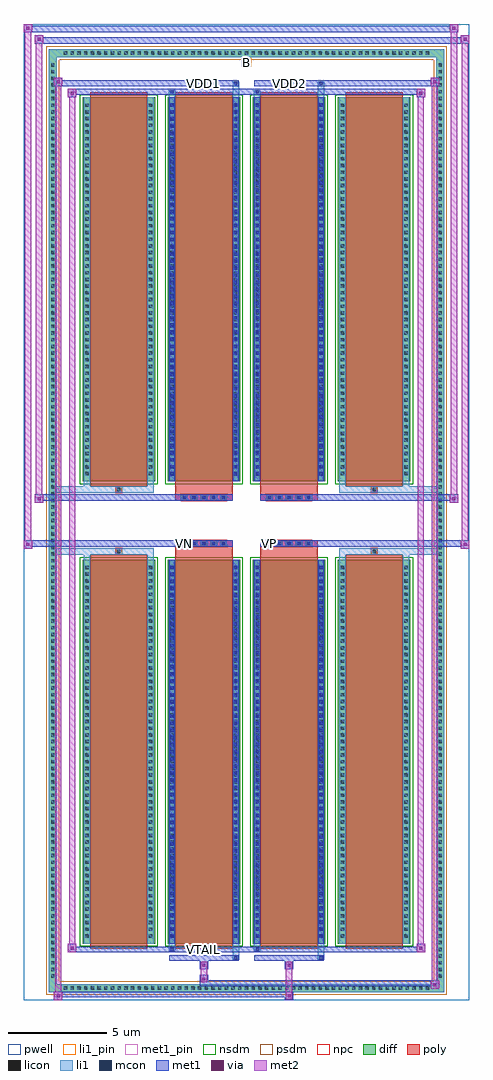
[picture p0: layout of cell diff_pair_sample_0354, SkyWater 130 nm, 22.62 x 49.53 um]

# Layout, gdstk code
import gdstk
lib = gdstk.Library(unit=1e-6, precision=5e-09)
def R(c, l, rs):  # rectangles x0, y0, x1, y1
    for r in rs: c.add(gdstk.rectangle(r[:2], r[2:], *l))
def A(c, l, x, y, w, h, nx, ny, dx, dy):  # array of equal rectangles
    R(c, l, [(x+i*dx, y+j*dy, x+i*dx+w, y+j*dy+h) for i in range(nx) for j in range(ny)])
def P(c, l, *ps):  # polygons
    for p in ps: c.add(gdstk.Polygon(p, *l))
pwell = (64, 44)
diff = (65, 20)
poly = (66, 20)
licon = (66, 44)
li1_pin = (67, 16)
li1 = (67, 20)
mcon = (67, 44)
met1_pin = (68, 16)
met1 = (68, 20)
via = (68, 44)
met2 = (69, 20)
nsdm = (93, 44)
psdm = (94, 20)
npc = (95, 20)

diff_pair_sample_0354 = lib.new_cell('diff_pair_sample_0354')
R(diff_pair_sample_0354, pwell, [(-11.31,-24.33,11.31,25.2), (-8.63,-22.52,-0.01,-0.8), (0.01,-22.52,8.63,-0.8), (-8.63,0.8,-0.01,22.52), (0.01,0.8,8.63,22.52)])
A(diff_pair_sample_0354, diff, -9.385, -23.93, 0.41, 0.41, 55, 2, 0.34, 47.45)
A(diff_pair_sample_0354, diff, -10.04, -23.325, 0.41, 0.41, 1, 137, 0, 0.34)
A(diff_pair_sample_0354, diff, 9.63, -23.325, 0.41, 0.41, 1, 137, 0, 0.34)
A(diff_pair_sample_0354, diff, -8.32, -21.475, 3.68, 19.49, 4, 2, 4.32, 23.46)
R(diff_pair_sample_0354, diff, [(-9.385,-23.93,9.385,-23.52), (-10.04,-23.325,-9.63,23.325), (9.63,-23.325,10.04,23.325), (-9.385,23.52,9.385,23.93)])
P(diff_pair_sample_0354, diff, [(10.04,23.93),(-10.04,23.93),(-10.04,-23.52),(-9.63,-23.52),(-9.63,23.52),(9.63,23.52),(9.63,-23.52),(-9.63,-23.52),(-10.04,-23.52),(-10.04,-23.93),(10.04,-23.93)])
A(diff_pair_sample_0354, poly, -7.93, -21.725, 2.9, 19.99, 4, 2, 4.32, 23.46)
A(diff_pair_sample_0354, poly, -3.325, -1.33, 0.33, 0.33, 5, 2, 0.5, 2.33)
A(diff_pair_sample_0354, poly, 0.995, -1.33, 0.33, 0.33, 5, 2, 0.5, 2.33)
R(diff_pair_sample_0354, poly, [(-6.645,-1.735,-6.315,-1.405), (-6.645,-1.735,-6.315,-1.405), (-3.61,-1.735,-0.71,-1.33), (0.71,-1.735,3.61,-1.33), (6.315,-1.735,6.645,-1.405), (6.315,-1.735,6.645,-1.405), (-3.61,-1.33,-0.71,-1), (0.71,-1.33,3.61,-1), (-3.61,1,-0.71,1.33), (0.71,1,3.61,1.33), (-3.61,1.33,-0.71,1.735), (0.71,1.33,3.61,1.735), (-6.645,1.405,-6.315,1.735), (-6.645,1.405,-6.315,1.735), (6.315,1.405,6.645,1.735), (6.315,1.405,6.645,1.735)])
A(diff_pair_sample_0354, licon, -9.265, -23.81, 0.17, 0.17, 55, 2, 0.34, 47.45)
A(diff_pair_sample_0354, licon, -9.92, -23.205, 0.17, 0.17, 1, 137, 0, 0.34)
A(diff_pair_sample_0354, licon, 9.75, -23.205, 0.17, 0.17, 1, 137, 0, 0.34)
A(diff_pair_sample_0354, licon, -8.18, -21.165, 0.17, 0.17, 1, 56, 0, 0.34)
A(diff_pair_sample_0354, licon, -4.95, -21.165, 0.17, 0.17, 1, 56, 0, 0.34)
A(diff_pair_sample_0354, licon, -3.86, -21.165, 0.17, 0.17, 1, 56, 0, 0.34)
A(diff_pair_sample_0354, licon, -0.63, -21.165, 0.17, 0.17, 1, 56, 0, 0.34)
A(diff_pair_sample_0354, licon, 0.46, -21.165, 0.17, 0.17, 1, 56, 0, 0.34)
A(diff_pair_sample_0354, licon, 3.69, -21.165, 0.17, 0.17, 1, 56, 0, 0.34)
A(diff_pair_sample_0354, licon, 4.78, -21.165, 0.17, 0.17, 1, 56, 0, 0.34)
A(diff_pair_sample_0354, licon, 8.01, -21.165, 0.17, 0.17, 1, 56, 0, 0.34)
A(diff_pair_sample_0354, licon, -3.245, -1.25, 0.17, 0.17, 5, 2, 0.5, 2.33)
A(diff_pair_sample_0354, licon, 1.075, -1.25, 0.17, 0.17, 5, 2, 0.5, 2.33)
A(diff_pair_sample_0354, licon, -8.18, 2.295, 0.17, 0.17, 1, 56, 0, 0.34)
A(diff_pair_sample_0354, licon, -4.95, 2.295, 0.17, 0.17, 1, 56, 0, 0.34)
A(diff_pair_sample_0354, licon, -3.86, 2.295, 0.17, 0.17, 1, 56, 0, 0.34)
A(diff_pair_sample_0354, licon, -0.63, 2.295, 0.17, 0.17, 1, 56, 0, 0.34)
A(diff_pair_sample_0354, licon, 0.46, 2.295, 0.17, 0.17, 1, 56, 0, 0.34)
A(diff_pair_sample_0354, licon, 3.69, 2.295, 0.17, 0.17, 1, 56, 0, 0.34)
A(diff_pair_sample_0354, licon, 4.78, 2.295, 0.17, 0.17, 1, 56, 0, 0.34)
A(diff_pair_sample_0354, licon, 8.01, 2.295, 0.17, 0.17, 1, 56, 0, 0.34)
R(diff_pair_sample_0354, licon, [(-6.565,-1.655,-6.395,-1.485), (6.395,-1.655,6.565,-1.485), (-6.565,1.485,-6.395,1.655), (6.395,1.485,6.565,1.655)])
R(diff_pair_sample_0354, li1_pin, [(-0.25,23.02,0.25,23.52)])
A(diff_pair_sample_0354, li1, -9.345, -23.89, 0.33, 0.33, 55, 2, 0.34, 47.45)
A(diff_pair_sample_0354, li1, -10, -23.285, 0.33, 0.33, 1, 137, 0, 0.34)
A(diff_pair_sample_0354, li1, 9.67, -23.285, 0.33, 0.33, 1, 137, 0, 0.34)
A(diff_pair_sample_0354, li1, -8.26, -21.245, 0.33, 0.33, 1, 56, 0, 0.34)
A(diff_pair_sample_0354, li1, -5.03, -21.245, 0.33, 0.33, 1, 56, 0, 0.34)
A(diff_pair_sample_0354, li1, -3.94, -21.245, 0.33, 0.33, 1, 56, 0, 0.34)
A(diff_pair_sample_0354, li1, -0.71, -21.245, 0.33, 0.33, 1, 56, 0, 0.34)
A(diff_pair_sample_0354, li1, 0.38, -21.245, 0.33, 0.33, 1, 56, 0, 0.34)
A(diff_pair_sample_0354, li1, 3.61, -21.245, 0.33, 0.33, 1, 56, 0, 0.34)
A(diff_pair_sample_0354, li1, 4.7, -21.245, 0.33, 0.33, 1, 56, 0, 0.34)
A(diff_pair_sample_0354, li1, 7.93, -21.245, 0.33, 0.33, 1, 56, 0, 0.34)
A(diff_pair_sample_0354, li1, -3.86, -21.175, 0.17, 0.17, 1, 53, 0, 0.36)
A(diff_pair_sample_0354, li1, -0.63, -21.175, 0.17, 0.17, 1, 53, 0, 0.36)
A(diff_pair_sample_0354, li1, 0.46, -21.175, 0.17, 0.17, 1, 53, 0, 0.36)
A(diff_pair_sample_0354, li1, 3.69, -21.175, 0.17, 0.17, 1, 53, 0, 0.36)
A(diff_pair_sample_0354, li1, -3.325, -1.33, 0.33, 0.33, 5, 2, 0.5, 2.33)
A(diff_pair_sample_0354, li1, 0.995, -1.33, 0.33, 0.33, 5, 2, 0.5, 2.33)
A(diff_pair_sample_0354, li1, -8.26, 2.215, 0.33, 0.33, 1, 56, 0, 0.34)
A(diff_pair_sample_0354, li1, -5.03, 2.215, 0.33, 0.33, 1, 56, 0, 0.34)
A(diff_pair_sample_0354, li1, -3.94, 2.215, 0.33, 0.33, 1, 56, 0, 0.34)
A(diff_pair_sample_0354, li1, -0.71, 2.215, 0.33, 0.33, 1, 56, 0, 0.34)
A(diff_pair_sample_0354, li1, 0.38, 2.215, 0.33, 0.33, 1, 56, 0, 0.34)
A(diff_pair_sample_0354, li1, 3.61, 2.215, 0.33, 0.33, 1, 56, 0, 0.34)
A(diff_pair_sample_0354, li1, 4.7, 2.215, 0.33, 0.33, 1, 56, 0, 0.34)
A(diff_pair_sample_0354, li1, 7.93, 2.215, 0.33, 0.33, 1, 56, 0, 0.34)
A(diff_pair_sample_0354, li1, -3.86, 2.285, 0.17, 0.17, 1, 53, 0, 0.36)
A(diff_pair_sample_0354, li1, -0.63, 2.285, 0.17, 0.17, 1, 53, 0, 0.36)
A(diff_pair_sample_0354, li1, 0.46, 2.285, 0.17, 0.17, 1, 53, 0, 0.36)
A(diff_pair_sample_0354, li1, 3.69, 2.285, 0.17, 0.17, 1, 53, 0, 0.36)
R(diff_pair_sample_0354, li1, [(-10.04,-23.93,-9.63,-23.52), (-10.04,-23.93,-9.63,-23.52), (-9.63,-23.93,9.63,-23.52), (9.63,-23.93,10.04,-23.52), (9.63,-23.93,10.04,-23.52), (-10.04,-23.52,-9.63,23.52), (9.63,-23.52,10.04,23.52), (-0.71,-22.28,-0.38,-21.475), (-0.63,-22.28,-0.46,-22.11), (3.61,-22.28,3.94,-21.475), (3.69,-22.28,3.86,-22.11), (-3.94,-21.85,-3.61,-21.475), (-3.86,-21.85,-3.69,-21.68), (0.38,-21.85,0.71,-21.475), (0.46,-21.85,0.63,-21.68), (-8.26,-21.475,-7.93,-1.985), (-5.03,-21.475,-4.7,-1.985), (-3.94,-21.475,-3.61,-1.985), (-0.71,-21.475,-0.38,-1.985), (0.38,-21.475,0.71,-1.985), (3.61,-21.475,3.94,-1.985), (4.7,-21.475,5.03,-1.985), (7.93,-21.475,8.26,-1.985), (-3.86,-21.175,-3.69,-2.285), (-0.63,-21.175,-0.46,-2.285), (0.46,-21.175,0.63,-2.285), (3.69,-21.175,3.86,-2.285), (-8.26,-1.985,-7.93,-1.405), (-5.03,-1.985,-4.7,-1.405), (4.7,-1.985,5.03,-1.405), (7.93,-1.985,8.26,-1.405), (-10.04,-1.735,-6.645,-1.405), (-8.26,-1.735,-6.645,-1.405), (-6.645,-1.735,-6.315,-1.405), (-6.315,-1.735,-4.7,-1.405), (4.7,-1.735,6.315,-1.405), (6.315,-1.735,6.645,-1.405), (6.315,-1.735,10.04,-1.405), (6.645,-1.735,8.26,-1.405), (-10.04,1.405,-6.645,1.735), (-8.26,1.405,-6.645,1.735), (-8.26,1.405,-7.93,1.985), (-6.645,1.405,-6.315,1.735), (-6.315,1.405,-4.7,1.735), (-5.03,1.405,-4.7,1.985), (4.7,1.405,6.315,1.735), (4.7,1.405,5.03,1.985), (6.315,1.405,6.645,1.735), (6.315,1.405,10.04,1.735), (6.645,1.405,8.26,1.735), (7.93,1.405,8.26,1.985), (-8.26,1.985,-7.93,21.475), (-5.03,1.985,-4.7,21.475), (-3.94,1.985,-3.61,21.475), (-0.71,1.985,-0.38,21.475), (0.38,1.985,0.71,21.475), (3.61,1.985,3.94,21.475), (4.7,1.985,5.03,21.475), (7.93,1.985,8.26,21.475), (-3.86,2.285,-3.69,21.175), (-0.63,2.285,-0.46,21.175), (0.46,2.285,0.63,21.175), (3.69,2.285,3.86,21.175), (-3.94,21.475,-3.61,21.85), (-0.71,21.475,-0.38,22.28), (0.38,21.475,0.71,21.85), (3.61,21.475,3.94,22.28), (-3.86,21.68,-3.69,21.85), (0.46,21.68,0.63,21.85), (-0.63,22.11,-0.46,22.28), (3.69,22.11,3.86,22.28), (-10.04,23.52,-9.63,23.93), (-10.04,23.52,-9.63,23.93), (-9.63,23.52,9.63,23.93), (9.63,23.52,10.04,23.93), (9.63,23.52,10.04,23.93)])
A(diff_pair_sample_0354, mcon, -3.86, -21.175, 0.17, 0.17, 1, 53, 0, 0.36)
A(diff_pair_sample_0354, mcon, -0.63, -21.175, 0.17, 0.17, 1, 53, 0, 0.36)
A(diff_pair_sample_0354, mcon, 0.46, -21.175, 0.17, 0.17, 1, 53, 0, 0.36)
A(diff_pair_sample_0354, mcon, 3.69, -21.175, 0.17, 0.17, 1, 53, 0, 0.36)
A(diff_pair_sample_0354, mcon, -3.245, -1.25, 0.17, 0.17, 5, 2, 0.5, 2.33)
A(diff_pair_sample_0354, mcon, 1.075, -1.25, 0.17, 0.17, 5, 2, 0.5, 2.33)
A(diff_pair_sample_0354, mcon, -3.86, 2.285, 0.17, 0.17, 1, 53, 0, 0.36)
A(diff_pair_sample_0354, mcon, -0.63, 2.285, 0.17, 0.17, 1, 53, 0, 0.36)
A(diff_pair_sample_0354, mcon, 0.46, 2.285, 0.17, 0.17, 1, 53, 0, 0.36)
A(diff_pair_sample_0354, mcon, 3.69, 2.285, 0.17, 0.17, 1, 53, 0, 0.36)
R(diff_pair_sample_0354, mcon, [(-0.63,-22.28,-0.46,-22.11), (3.69,-22.28,3.86,-22.11), (-3.86,-21.85,-3.69,-21.68), (0.46,-21.85,0.63,-21.68), (-3.86,21.68,-3.69,21.85), (0.46,21.68,0.63,21.85), (-0.63,22.11,-0.46,22.28), (3.69,22.11,3.86,22.28)])
R(diff_pair_sample_0354, met1_pin, [(-2.295,-21.89,-2.025,-21.62), (-3.295,-1.29,-3.025,-1.02), (1.025,-1.29,1.295,-1.02), (-2.295,22.07,-2.025,22.34), (2.025,22.07,2.295,22.34)])
A(diff_pair_sample_0354, met1, -3.92, -21.235, 0.29, 0.29, 1, 53, 0, 0.36)
A(diff_pair_sample_0354, met1, -0.69, -21.235, 0.29, 0.29, 1, 53, 0, 0.36)
A(diff_pair_sample_0354, met1, 0.4, -21.235, 0.29, 0.29, 1, 53, 0, 0.36)
A(diff_pair_sample_0354, met1, 3.63, -21.235, 0.29, 0.29, 1, 53, 0, 0.36)
A(diff_pair_sample_0354, met1, -3.305, -1.31, 0.29, 0.29, 5, 2, 0.5, 2.33)
A(diff_pair_sample_0354, met1, 1.015, -1.31, 0.29, 0.29, 5, 2, 0.5, 2.33)
A(diff_pair_sample_0354, met1, -3.92, 2.225, 0.29, 0.29, 1, 53, 0, 0.36)
A(diff_pair_sample_0354, met1, -0.69, 2.225, 0.29, 0.29, 1, 53, 0, 0.36)
A(diff_pair_sample_0354, met1, 0.4, 2.225, 0.29, 0.29, 1, 53, 0, 0.36)
A(diff_pair_sample_0354, met1, 3.63, 2.225, 0.29, 0.29, 1, 53, 0, 0.36)
R(diff_pair_sample_0354, met1, [(-9.77,-24.33,-9.34,-23.9), (1.945,-24.33,2.375,-23.9), (-9.77,-24.19,2.375,-23.9), (9.34,-23.76,9.77,-23.33), (-2.375,-23.62,9.77,-23.33), (-2.375,-23.48,-1.945,-23.05), (-2.375,-22.77,-1.945,-22.34), (1.945,-22.77,2.375,-22.34), (-3.92,-22.34,-0.4,-22.05), (-0.69,-22.34,-0.4,-22.05), (0.4,-22.34,3.92,-22.05), (3.63,-22.34,3.92,-22.05), (-9.06,-21.91,-8.63,-21.48), (-9.06,-21.91,-3.92,-21.62), (-3.92,-21.91,-3.63,-21.62), (-3.92,-21.91,-0.4,-21.62), (-0.4,-21.91,0.4,-21.62), (0.4,-21.91,0.69,-21.62), (0.4,-21.91,3.92,-21.62), (3.92,-21.91,9.06,-21.62), (8.63,-21.91,9.06,-21.48), (-3.92,-21.475,-3.63,-1.985), (-0.69,-21.475,-0.4,-1.985), (0.4,-21.475,0.69,-1.985), (3.63,-21.475,3.92,-1.985), (-11.31,-1.43,-10.88,-1), (10.88,-1.43,11.31,-1), (-11.31,-1.33,-0.71,-1), (-3.61,-1.33,-0.71,-1), (0.71,-1.33,3.61,-1), (0.71,-1.33,11.31,-1), (-10.74,0.9,-10.31,1.33), (10.31,0.9,10.74,1.33), (-10.74,1,-3.61,1.33), (-3.61,1,-0.71,1.33), (0.71,1,3.61,1.33), (3.61,1,10.74,1.33), (-3.92,1.985,-3.63,21.475), (-0.69,1.985,-0.4,21.475), (0.4,1.985,0.69,21.475), (3.63,1.985,3.92,21.475), (-9.06,21.48,-8.63,21.91), (8.63,21.48,9.06,21.91), (-9.06,21.62,-3.92,21.91), (-3.92,21.62,-3.63,21.91), (-3.92,21.62,-0.4,21.91), (-0.4,21.62,0.4,21.91), (0.4,21.62,0.69,21.91), (0.4,21.62,3.92,21.91), (3.92,21.62,9.06,21.91), (-9.77,22.05,-9.34,22.48), (-9.77,22.05,-3.92,22.34), (-3.92,22.05,-0.4,22.34), (-0.69,22.05,-0.4,22.34), (0.4,22.05,3.92,22.34), (3.63,22.05,3.92,22.34), (3.92,22.05,9.77,22.34), (9.34,22.05,9.77,22.48), (-10.74,24.2,-10.31,24.63), (-10.74,24.2,-8.63,24.53), (-8.63,24.2,8.63,24.53), (8.63,24.2,11.31,24.53), (10.88,24.2,11.31,24.63), (-11.31,24.77,-10.88,25.2), (-11.31,24.77,-8.63,25.1), (-8.63,24.77,8.63,25.1), (8.63,24.77,10.74,25.1), (10.31,24.77,10.74,25.2)])
R(diff_pair_sample_0354, via, [(-9.63,-24.19,-9.48,-24.04), (2.085,-24.19,2.235,-24.04), (9.48,-23.62,9.63,-23.47), (-2.235,-23.34,-2.085,-23.19), (-2.235,-22.63,-2.085,-22.48), (2.085,-22.63,2.235,-22.48), (-8.92,-21.77,-8.77,-21.62), (8.77,-21.77,8.92,-21.62), (-11.17,-1.29,-11.02,-1.14), (11.02,-1.29,11.17,-1.14), (-10.6,1.04,-10.45,1.19), (10.45,1.04,10.6,1.19), (-8.92,21.62,-8.77,21.77), (8.77,21.62,8.92,21.77), (-9.63,22.19,-9.48,22.34), (9.48,22.19,9.63,22.34), (-10.6,24.34,-10.45,24.49), (11.02,24.34,11.17,24.49), (-11.17,24.91,-11.02,25.06), (10.45,24.91,10.6,25.06)])
R(diff_pair_sample_0354, met2, [(-9.77,-24.33,-9.34,-23.9), (-9.7,-24.33,-9.41,22.48), (-9.41,-24.33,-9.34,-23.9), (-9.72,-24.28,-9.39,-23.95), (1.995,-24.28,2.325,-23.95), (1.995,-23.95,2.325,-22.72), (9.34,-23.76,9.77,-23.33), (9.41,-23.76,9.7,22.48), (9.7,-23.76,9.77,-23.33), (9.39,-23.71,9.72,-23.38), (-2.325,-23.43,-1.995,-23.1), (-2.325,-23.1,-1.995,-22.72), (-2.325,-22.72,-1.995,-22.39), (1.995,-22.72,2.325,-22.39), (-9.06,-21.91,-8.63,-21.48), (-8.99,-21.91,-8.7,21.91), (-8.7,-21.91,-8.63,-21.48), (8.63,-21.91,9.06,-21.48), (8.7,-21.91,8.99,21.91), (8.99,-21.91,9.06,-21.48), (-9.01,-21.86,-8.68,-21.53), (8.68,-21.86,9.01,-21.53), (-11.31,-1.43,-10.88,-1), (-11.26,-1.43,-10.93,25.2), (-10.93,-1.43,-10.88,-1), (10.88,-1.43,11.31,-1), (10.93,-1.43,11.26,24.63), (11.26,-1.43,11.31,-1), (-11.26,-1.38,-10.93,-1.05), (10.93,-1.38,11.26,-1.05), (-10.74,0.9,-10.31,1.33), (-10.69,0.9,-10.36,24.63), (-10.36,0.9,-10.31,1.33), (10.31,0.9,10.74,1.33), (10.36,0.9,10.69,25.2), (10.69,0.9,10.74,1.33), (-10.69,0.95,-10.36,1.28), (10.36,0.95,10.69,1.28), (-9.06,21.48,-8.63,21.91), (-8.7,21.48,-8.63,21.91), (8.63,21.48,9.06,21.91), (8.99,21.48,9.06,21.91), (-9.01,21.53,-8.68,21.86), (8.68,21.53,9.01,21.86), (-9.77,22.05,-9.34,22.48), (-9.41,22.05,-9.34,22.48), (9.34,22.05,9.77,22.48), (9.7,22.05,9.77,22.48), (-9.72,22.1,-9.39,22.43), (9.39,22.1,9.72,22.43), (-10.74,24.2,-10.31,24.63), (-10.36,24.2,-10.31,24.63), (10.88,24.2,11.31,24.63), (11.26,24.2,11.31,24.63), (-10.69,24.25,-10.36,24.58), (10.93,24.25,11.26,24.58), (-11.31,24.77,-10.88,25.2), (-10.93,24.77,-10.88,25.2), (10.31,24.77,10.74,25.2), (10.69,24.77,10.74,25.2), (-11.26,24.82,-10.93,25.15), (10.36,24.82,10.69,25.15)])
A(diff_pair_sample_0354, nsdm, -8.45, -21.605, 3.94, 19.75, 4, 2, 4.32, 23.46)
P(diff_pair_sample_0354, psdm, [(10.17,24.06),(-10.17,24.06),(-10.17,-23.39),(-9.5,-23.39),(-9.5,23.39),(9.5,23.39),(9.5,-23.39),(-9.5,-23.39),(-10.17,-23.39),(-10.17,-24.06),(10.17,-24.06)])
A(diff_pair_sample_0354, npc, -3.345, -1.35, 0.37, 0.37, 5, 2, 0.5, 2.33)
A(diff_pair_sample_0354, npc, 0.975, -1.35, 0.37, 0.37, 5, 2, 0.5, 2.33)
R(diff_pair_sample_0354, npc, [(-6.665,-1.755,-6.295,-1.385), (6.295,-1.755,6.665,-1.385), (-3.345,-1.35,-2.475,-0.98), (-3.345,-1.35,-2.475,-0.98), (-2.845,-1.35,-1.975,-0.98), (-2.845,-1.35,-1.975,-0.98), (-2.345,-1.35,-1.475,-0.98), (-2.345,-1.35,-1.475,-0.98), (-1.845,-1.35,-0.975,-0.98), (-1.845,-1.35,-0.975,-0.98), (0.975,-1.35,1.845,-0.98), (0.975,-1.35,1.845,-0.98), (1.475,-1.35,2.345,-0.98), (1.475,-1.35,2.345,-0.98), (1.975,-1.35,2.845,-0.98), (1.975,-1.35,2.845,-0.98), (2.475,-1.35,3.345,-0.98), (2.475,-1.35,3.345,-0.98), (-3.345,0.98,-2.475,1.35), (-3.345,0.98,-2.475,1.35), (-2.845,0.98,-1.975,1.35), (-2.845,0.98,-1.975,1.35), (-2.345,0.98,-1.475,1.35), (-2.345,0.98,-1.475,1.35), (-1.845,0.98,-0.975,1.35), (-1.845,0.98,-0.975,1.35), (0.975,0.98,1.845,1.35), (0.975,0.98,1.845,1.35), (1.475,0.98,2.345,1.35), (1.475,0.98,2.345,1.35), (1.975,0.98,2.845,1.35), (1.975,0.98,2.845,1.35), (2.475,0.98,3.345,1.35), (2.475,0.98,3.345,1.35), (-6.665,1.385,-6.295,1.755), (6.295,1.385,6.665,1.755)])
diff_pair_sample_0354.add(gdstk.Label('VTAIL', (-2.16,-21.755), layer=68, texttype=5))
diff_pair_sample_0354.add(gdstk.Label('VN', (-3.16,-1.155), layer=68, texttype=5))
diff_pair_sample_0354.add(gdstk.Label('VP', (1.16,-1.155), layer=68, texttype=5))
diff_pair_sample_0354.add(gdstk.Label('B', (0,23.27), layer=67, texttype=5))
diff_pair_sample_0354.add(gdstk.Label('VDD2', (2.16,22.205), layer=68, texttype=5))
diff_pair_sample_0354.add(gdstk.Label('VDD1', (-2.16,22.205), layer=68, texttype=5))

lib.write_gds('diff_pair_sample_0354.gds')
